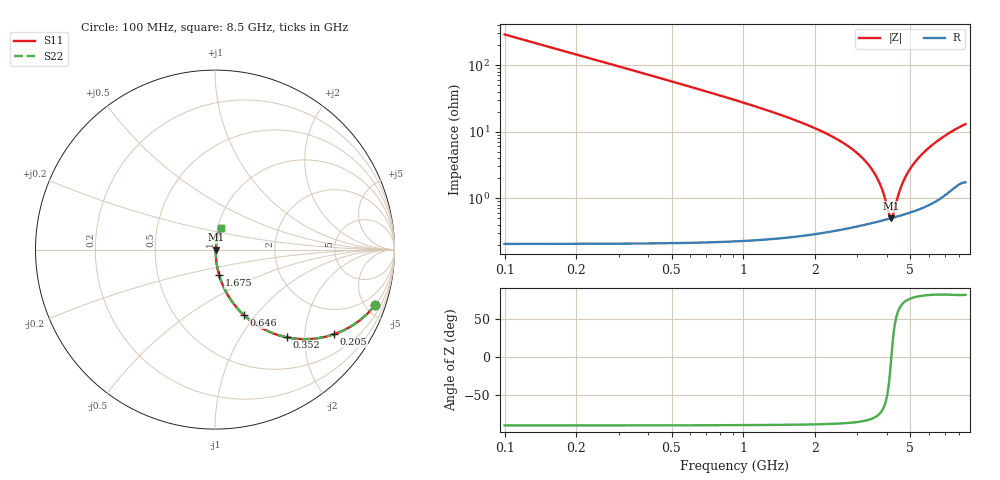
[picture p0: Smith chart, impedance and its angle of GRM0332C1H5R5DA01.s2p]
!Murata Part Number: GRM0332C1H5R5DA01
!These Parameters are Measured in Series Mode Connection
!Data Generated on Mar 30, 2021
!  o--ll--o
!Port1  Port2
!  o------o
!Operation Temp=25[degC], DC Bias Voltage=0[V]
!Freq. Start=100[MHz] Stop=9[GHz] 401[Steps]
# Hz S RI R 50
!Freq.(Hz) S11(Real) S11(Imag) S21(Real) S21(Imag) S12(Real) S12(Imag) S22(Real) S22(Imag)
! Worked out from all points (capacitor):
!   401 points, 100 MHz to 8.5 GHz, reference 50 ohm
!   read as one part in series: C = 5.5 pF near 142 MHz
!   lowest |Z| = 500 mohm at 4.153 GHz (marker M1)
!   series resonance near 4.162 GHz, so ESL is about 270 pH
!   S11 on the Smith chart (normalised r, x): 100 MHz: 1.00, -5.78; 205 MHz: 1.00, -2.82; 352 MHz: 1.00, -1.63; 646 MHz: 1.00, -0.87; 1.675 GHz: 1.01, -0.29; 8.5 GHz: 1.03, +0.26
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1e8  0.893 -0.3087  0.107 0.3087  0.107 0.3087  0.893 -0.3087
2.05e8  0.6646 -0.4714  0.3354 0.4714  0.3354 0.4714  0.6646 -0.4714
3.52e8  0.4002 -0.4887  0.5998 0.4887  0.5998 0.4887  0.4002 -0.4887
4.78e8  0.2639 -0.439  0.7361 0.439  0.7361 0.439  0.2639 -0.439
6.46e8  0.1618 -0.3659  0.8382 0.3659  0.8382 0.3659  0.1618 -0.3659
9.82e8  0.0739 -0.2575  0.9261 0.2575  0.9261 0.2575  0.0739 -0.2575
1.507e9  0.0296 -0.1621  0.9704 0.1621  0.9704 0.1621  0.0296 -0.1621
1.675e9  0.0232 -0.1417  0.9768 0.1417  0.9768 0.1417  0.0232 -0.1417
2.914e9  0.00628 -0.051  0.9937 0.051  0.9937 0.051  0.00628 -0.051
3.313e9  0.00511 -0.0324  0.9949 0.0324  0.9949 0.0324  0.00511 -0.0324
3.607e9  0.00478 -0.0203  0.9952 0.0203  0.9952 0.0203  0.00478 -0.0203
3.817e9  0.00474 -0.0123  0.9953 0.0123  0.9953 0.0123  0.00474 -0.0123
4.069e9  0.00488 -0.00323  0.9951 0.00323  0.9951 0.00323  0.00488 -0.00323
4.153e9  0.00497 -0.000311  0.995 0.000311  0.995 0.000311  0.00497 -0.000311
4.216e9  0.00504 0.00185  0.995 -0.00185  0.995 -0.00185  0.00504 0.00185
4.3e9  0.00516 0.00468  0.9948 -0.00468  0.9948 -0.00468  0.00516 0.00468
4.531e9  0.00557 0.0123  0.9944 -0.0123  0.9944 -0.0123  0.00557 0.0123
4.804e9  0.00622 0.0209  0.9938 -0.0209  0.9938 -0.0209  0.00622 0.0209
5.203e9  0.00746 0.0331  0.9925 -0.0331  0.9925 -0.0331  0.00746 0.0331
5.707e9  0.00954 0.0478  0.9905 -0.0478  0.9905 -0.0478  0.00954 0.0478
7.114e9  0.0193 0.0874  0.9807 -0.0874  0.9807 -0.0874  0.0193 0.0874
8.5e9  0.0325 0.1225  0.9675 -0.1225  0.9675 -0.1225  0.0325 0.1225
